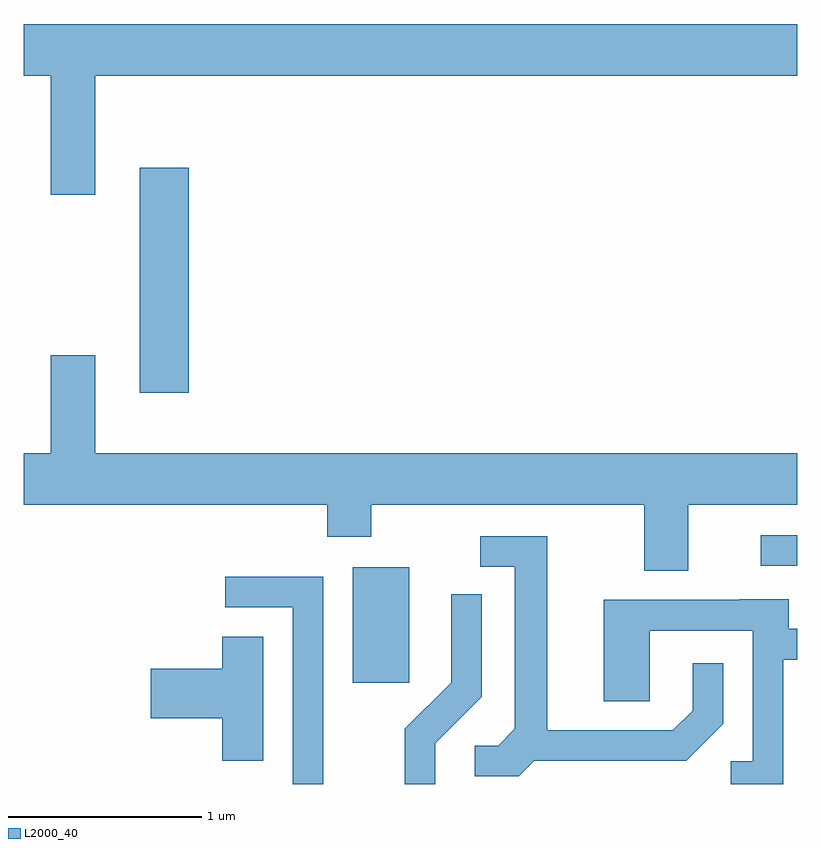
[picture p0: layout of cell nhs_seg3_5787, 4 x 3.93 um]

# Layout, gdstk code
import gdstk
lib = gdstk.Library(unit=1e-6, precision=1e-09)
def R(c, l, rs):  # rectangles x0, y0, x1, y1
    for r in rs: c.add(gdstk.rectangle(r[:2], r[2:], *l))
def P(c, l, *ps):  # polygons
    for p in ps: c.add(gdstk.Polygon(p, *l))
L2000_40 = (2000, 40)

nhs_seg3_5787 = lib.new_cell('nhs_seg3_5787')
R(nhs_seg3_5787, L2000_40, [(357.311,1138.416,357.604,1139.014), (359.423,1139.021,359.611,1139.179), (356.211,1139.916,356.464,1141.079)])
P(nhs_seg3_5787, L2000_40, [(355.979,1141.556),(359.611,1141.556),(359.611,1141.824),(355.611,1141.824),(355.611,1141.556),(355.751,1141.556),(355.751,1140.941),(355.979,1140.941)],
  [(359.049,1139.336),(359.611,1139.336),(359.611,1139.604),(355.979,1139.604),(355.979,1140.109),(355.751,1140.109),(355.751,1139.604),(355.611,1139.604),(355.611,1139.336),(357.181,1139.336),(357.181,1139.171),(357.409,1139.171),(357.409,1139.336),(358.821,1139.336),(358.821,1138.996),(359.049,1138.996)],
  [(358.252,1138.011),(359.037,1138.011),(359.229,1138.204),(359.229,1138.518),(359.071,1138.518),(359.071,1138.272),(358.969,1138.169),(358.319,1138.169),(358.319,1139.174),(357.973,1139.174),(357.973,1139.016),(358.151,1139.016),(358.151,1138.177),(358.064,1138.089),(357.943,1138.089),(357.943,1137.931),(358.172,1137.931)],
  [(357.159,1138.964),(356.653,1138.964),(356.653,1138.806),(357.001,1138.806),(357.001,1137.892),(357.159,1137.892)],
  [(357.739,1138.104),(357.979,1138.344),(357.979,1138.873),(357.821,1138.873),(357.821,1138.417),(357.581,1138.177),(357.581,1137.892),(357.739,1137.892)],
  [(359.539,1138.536),(359.611,1138.536),(359.611,1138.694),(359.569,1138.694),(359.569,1138.849),(359.315,1138.849),(359.315,1138.844),(358.611,1138.844),(358.611,1138.321),(358.849,1138.321),(358.849,1138.686),(359.381,1138.686),(359.381,1138.009),(359.268,1138.009),(359.268,1137.892),(359.539,1137.892)],
  [(356.849,1138.654),(356.636,1138.654),(356.636,1138.489),(356.266,1138.489),(356.266,1138.231),(356.636,1138.231),(356.636,1138.011),(356.849,1138.011)])

lib.write_gds('nhs_seg3_5787.gds')
